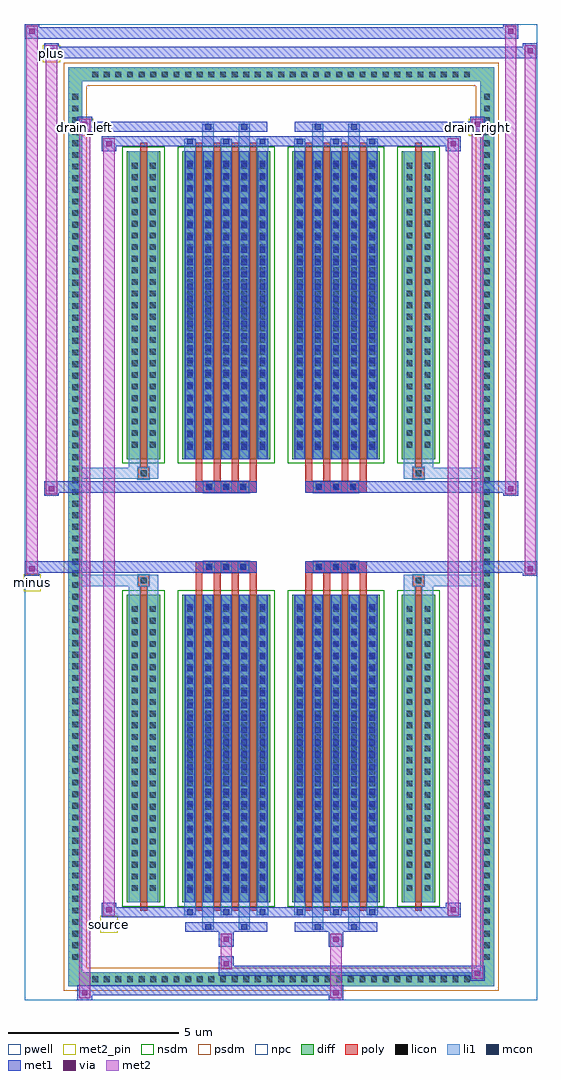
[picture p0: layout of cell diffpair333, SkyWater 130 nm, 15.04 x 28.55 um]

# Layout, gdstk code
import gdstk
lib = gdstk.Library(unit=1e-6, precision=5e-09)
def R(c, l, rs):  # rectangles x0, y0, x1, y1
    for r in rs: c.add(gdstk.rectangle(r[:2], r[2:], *l))
def A(c, l, x, y, w, h, nx, ny, dx, dy):  # array of equal rectangles
    R(c, l, [(x+i*dx, y+j*dy, x+i*dx+w, y+j*dy+h) for i in range(nx) for j in range(ny)])
def P(c, l, *ps):  # polygons
    for p in ps: c.add(gdstk.Polygon(p, *l))
pwell = (64, 44)
diff = (65, 20)
poly = (66, 20)
licon = (66, 44)
li1 = (67, 20)
mcon = (67, 44)
met1 = (68, 20)
via = (68, 44)
met2_pin = (69, 16)
met2 = (69, 20)
nsdm = (93, 44)
psdm = (94, 20)
npc = (95, 20)

diffpair333 = lib.new_cell('diffpair333')
R(diffpair333, pwell, [(-7.5,-13.84,7.5,14.71), (-4.82,-12.03,-0.01,-0.805), (0.01,-12.03,4.82,-0.805), (-4.82,0.805,-0.01,12.03), (0.01,0.805,4.82,12.03)])
A(diffpair333, diff, -5.645, -13.44, 0.41, 0.41, 33, 2, 0.34, 26.47)
A(diffpair333, diff, -6.23, -12.785, 0.41, 0.41, 1, 75, 0, 0.34)
A(diffpair333, diff, 5.82, -12.785, 0.41, 0.41, 1, 75, 0, 0.34)
R(diffpair333, diff, [(-5.645,-13.44,5.645,-13.03), (-6.23,-12.785,-5.82,12.785), (5.82,-12.785,6.23,12.785), (-4.51,-10.985,-3.53,-1.985), (-2.89,-10.985,-0.32,-1.985), (0.32,-10.985,2.89,-1.985), (3.53,-10.985,4.51,-1.985), (-4.51,1.985,-3.53,10.985), (-2.89,1.985,-0.32,10.985), (0.32,1.985,2.89,10.985), (3.53,1.985,4.51,10.985), (-5.645,13.03,5.645,13.44)])
P(diffpair333, diff, [(6.23,13.44),(-6.23,13.44),(-6.23,-13.03),(-5.82,-13.03),(-5.82,13.03),(5.82,13.03),(5.82,-13.03),(-5.82,-13.03),(-6.23,-13.03),(-6.23,-13.44),(6.23,-13.44)])
A(diffpair333, poly, -2.5, -11.235, 0.2, 9.5, 4, 2, 0.53, 12.97)
A(diffpair333, poly, 0.71, -11.235, 0.2, 9.5, 4, 2, 0.53, 12.97)
A(diffpair333, poly, -2.5, -1.735, 0.2, 0.4, 4, 2, 0.53, 3.07)
A(diffpair333, poly, 0.71, -1.735, 0.2, 0.4, 4, 2, 0.53, 3.07)
A(diffpair333, poly, -2.27, -1.335, 0.33, 0.33, 3, 2, 0.5, 2.34)
A(diffpair333, poly, 0.94, -1.335, 0.33, 0.33, 3, 2, 0.5, 2.34)
R(diffpair333, poly, [(-4.12,-11.235,-3.92,-1.735), (3.92,-11.235,4.12,-1.735), (-4.185,-1.735,-3.855,-1.405), (-4.185,-1.735,-3.855,-1.405), (3.855,-1.735,4.185,-1.405), (3.855,-1.735,4.185,-1.405), (-2.5,-1.335,-0.71,-1.005), (0.71,-1.335,2.5,-1.005), (-2.5,1.005,-0.71,1.335), (0.71,1.005,2.5,1.335), (-4.185,1.405,-3.855,1.735), (-4.185,1.405,-3.855,1.735), (3.855,1.405,4.185,1.735), (3.855,1.405,4.185,1.735), (-4.12,1.735,-3.92,11.235), (3.92,1.735,4.12,11.235)])
A(diffpair333, licon, -5.525, -13.32, 0.17, 0.17, 33, 2, 0.34, 26.47)
A(diffpair333, licon, -6.11, -12.665, 0.17, 0.17, 1, 75, 0, 0.34)
A(diffpair333, licon, 5.94, -12.665, 0.17, 0.17, 1, 75, 0, 0.34)
A(diffpair333, licon, -4.37, -10.65, 0.17, 0.17, 1, 25, 0, 0.34)
A(diffpair333, licon, -3.84, -10.65, 0.17, 0.17, 1, 25, 0, 0.34)
A(diffpair333, licon, -2.75, -10.65, 0.17, 0.17, 5, 25, 0.53, 0.34)
A(diffpair333, licon, 0.46, -10.65, 0.17, 0.17, 5, 25, 0.53, 0.34)
A(diffpair333, licon, 3.67, -10.65, 0.17, 0.17, 1, 25, 0, 0.34)
A(diffpair333, licon, 4.2, -10.65, 0.17, 0.17, 1, 25, 0, 0.34)
A(diffpair333, licon, -2.19, -1.255, 0.17, 0.17, 3, 2, 0.5, 2.34)
A(diffpair333, licon, 1.02, -1.255, 0.17, 0.17, 3, 2, 0.5, 2.34)
A(diffpair333, licon, -4.37, 2.32, 0.17, 0.17, 1, 25, 0, 0.34)
A(diffpair333, licon, -3.84, 2.32, 0.17, 0.17, 1, 25, 0, 0.34)
A(diffpair333, licon, -2.75, 2.32, 0.17, 0.17, 5, 25, 0.53, 0.34)
A(diffpair333, licon, 0.46, 2.32, 0.17, 0.17, 5, 25, 0.53, 0.34)
A(diffpair333, licon, 3.67, 2.32, 0.17, 0.17, 1, 25, 0, 0.34)
A(diffpair333, licon, 4.2, 2.32, 0.17, 0.17, 1, 25, 0, 0.34)
R(diffpair333, licon, [(-4.105,-1.655,-3.935,-1.485), (3.935,-1.655,4.105,-1.485), (-4.105,1.485,-3.935,1.655), (3.935,1.485,4.105,1.655)])
A(diffpair333, li1, -5.605, -13.4, 0.33, 0.33, 33, 2, 0.34, 26.47)
A(diffpair333, li1, -6.19, -12.745, 0.33, 0.33, 1, 75, 0, 0.34)
A(diffpair333, li1, 5.86, -12.745, 0.33, 0.33, 1, 75, 0, 0.34)
A(diffpair333, li1, -2.83, -11.36, 0.33, 0.375, 3, 2, 1.06, 22.345)
A(diffpair333, li1, -2.75, -11.36, 0.17, 0.17, 3, 2, 1.06, 22.55)
A(diffpair333, li1, 0.38, -11.36, 0.33, 0.375, 3, 2, 1.06, 22.345)
A(diffpair333, li1, 0.46, -11.36, 0.17, 0.17, 3, 2, 1.06, 22.55)
A(diffpair333, li1, -2.83, -10.985, 0.33, 9, 5, 2, 0.53, 12.97)
A(diffpair333, li1, 0.38, -10.985, 0.33, 9, 5, 2, 0.53, 12.97)
A(diffpair333, li1, -4.45, -10.73, 0.33, 0.33, 1, 25, 0, 0.34)
A(diffpair333, li1, -3.92, -10.73, 0.33, 0.33, 1, 25, 0, 0.34)
A(diffpair333, li1, -2.83, -10.73, 0.33, 0.33, 5, 25, 0.53, 0.34)
A(diffpair333, li1, 0.38, -10.73, 0.33, 0.33, 5, 25, 0.53, 0.34)
A(diffpair333, li1, 3.59, -10.73, 0.33, 0.33, 1, 25, 0, 0.34)
A(diffpair333, li1, 4.12, -10.73, 0.33, 0.33, 1, 25, 0, 0.34)
A(diffpair333, li1, -2.75, -10.71, 0.17, 0.17, 5, 24, 0.53, 0.36)
A(diffpair333, li1, -2.75, -10.71, 0.17, 8.45, 5, 2, 0.53, 12.97)
A(diffpair333, li1, 0.46, -10.71, 0.17, 0.17, 5, 24, 0.53, 0.36)
A(diffpair333, li1, 0.46, -10.71, 0.17, 8.45, 5, 2, 0.53, 12.97)
A(diffpair333, li1, -2.27, -1.335, 0.33, 0.33, 3, 2, 0.5, 2.34)
A(diffpair333, li1, 0.94, -1.335, 0.33, 0.33, 3, 2, 0.5, 2.34)
A(diffpair333, li1, -4.45, 2.24, 0.33, 0.33, 1, 25, 0, 0.34)
A(diffpair333, li1, -3.92, 2.24, 0.33, 0.33, 1, 25, 0, 0.34)
A(diffpair333, li1, -2.83, 2.24, 0.33, 0.33, 5, 25, 0.53, 0.34)
A(diffpair333, li1, 0.38, 2.24, 0.33, 0.33, 5, 25, 0.53, 0.34)
A(diffpair333, li1, 3.59, 2.24, 0.33, 0.33, 1, 25, 0, 0.34)
A(diffpair333, li1, 4.12, 2.24, 0.33, 0.33, 1, 25, 0, 0.34)
A(diffpair333, li1, -2.75, 2.26, 0.17, 0.17, 5, 24, 0.53, 0.36)
A(diffpair333, li1, 0.46, 2.26, 0.17, 0.17, 5, 24, 0.53, 0.36)
R(diffpair333, li1, [(-6.23,-13.44,-5.82,-13.03), (-6.23,-13.44,-5.82,-13.03), (-5.82,-13.44,5.82,-13.03), (5.82,-13.44,6.23,-13.03), (5.82,-13.44,6.23,-13.03), (-6.23,-13.03,-5.82,13.03), (5.82,-13.03,6.23,13.03), (-2.3,-11.79,-1.97,-10.985), (-2.22,-11.79,-2.05,-11.62), (-1.24,-11.79,-0.91,-10.985), (-1.16,-11.79,-0.99,-11.62), (0.91,-11.79,1.24,-10.985), (0.99,-11.79,1.16,-11.62), (1.97,-11.79,2.3,-10.985), (2.05,-11.79,2.22,-11.62), (-4.45,-10.985,-4.12,-1.985), (-3.92,-10.985,-3.59,-1.985), (3.59,-10.985,3.92,-1.985), (4.12,-10.985,4.45,-1.985), (-4.45,-1.985,-4.12,-1.405), (-3.92,-1.985,-3.59,-1.405), (3.59,-1.985,3.92,-1.405), (4.12,-1.985,4.45,-1.405), (-6.23,-1.735,-4.185,-1.405), (-4.45,-1.735,-4.185,-1.405), (-4.185,-1.735,-3.855,-1.405), (-3.855,-1.735,-3.59,-1.405), (3.59,-1.735,3.855,-1.405), (3.855,-1.735,4.185,-1.405), (3.855,-1.735,6.23,-1.405), (4.185,-1.735,4.45,-1.405), (-6.23,1.405,-4.185,1.735), (-4.45,1.405,-4.185,1.735), (-4.45,1.405,-4.12,1.985), (-4.185,1.405,-3.855,1.735), (-3.92,1.405,-3.59,1.985), (-3.855,1.405,-3.59,1.735), (3.59,1.405,3.855,1.735), (3.59,1.405,3.92,1.985), (3.855,1.405,4.185,1.735), (3.855,1.405,6.23,1.735), (4.12,1.405,4.45,1.985), (4.185,1.405,4.45,1.735), (-4.45,1.985,-4.12,10.985), (-3.92,1.985,-3.59,10.985), (3.59,1.985,3.92,10.985), (4.12,1.985,4.45,10.985), (-2.3,10.985,-1.97,11.79), (-1.24,10.985,-0.91,11.79), (0.91,10.985,1.24,11.79), (1.97,10.985,2.3,11.79), (-2.22,11.62,-2.05,11.79), (-1.16,11.62,-0.99,11.79), (0.99,11.62,1.16,11.79), (2.05,11.62,2.22,11.79), (-6.23,13.03,-5.82,13.44), (-6.23,13.03,-5.82,13.44), (-5.82,13.03,5.82,13.44), (5.82,13.03,6.23,13.44), (5.82,13.03,6.23,13.44)])
A(diffpair333, mcon, -2.75, -11.36, 0.17, 0.17, 3, 2, 1.06, 22.55)
A(diffpair333, mcon, 0.46, -11.36, 0.17, 0.17, 3, 2, 1.06, 22.55)
A(diffpair333, mcon, -2.75, -10.71, 0.17, 0.17, 5, 24, 0.53, 0.36)
A(diffpair333, mcon, 0.46, -10.71, 0.17, 0.17, 5, 24, 0.53, 0.36)
A(diffpair333, mcon, -2.19, -1.255, 0.17, 0.17, 3, 2, 0.5, 2.34)
A(diffpair333, mcon, 1.02, -1.255, 0.17, 0.17, 3, 2, 0.5, 2.34)
A(diffpair333, mcon, -2.75, 2.26, 0.17, 0.17, 5, 24, 0.53, 0.36)
A(diffpair333, mcon, 0.46, 2.26, 0.17, 0.17, 5, 24, 0.53, 0.36)
R(diffpair333, mcon, [(-2.22,-11.79,-2.05,-11.62), (-1.16,-11.79,-0.99,-11.62), (0.99,-11.79,1.16,-11.62), (2.05,-11.79,2.22,-11.62), (-2.22,11.62,-2.05,11.79), (-1.16,11.62,-0.99,11.79), (0.99,11.62,1.16,11.79), (2.05,11.62,2.22,11.79)])
A(diffpair333, met1, -2.81, -11.42, 0.29, 0.29, 3, 2, 1.06, 22.55)
A(diffpair333, met1, 0.4, -11.42, 0.29, 0.29, 3, 2, 1.06, 22.55)
A(diffpair333, met1, -2.81, -10.985, 0.29, 9, 5, 2, 0.53, 12.97)
A(diffpair333, met1, 0.4, -10.985, 0.29, 9, 5, 2, 0.53, 12.97)
A(diffpair333, met1, -2.81, -10.77, 0.29, 0.29, 5, 24, 0.53, 0.36)
A(diffpair333, met1, 0.4, -10.77, 0.29, 0.29, 5, 24, 0.53, 0.36)
A(diffpair333, met1, -2.25, -1.315, 0.29, 0.29, 3, 2, 0.5, 2.34)
A(diffpair333, met1, 0.96, -1.315, 0.29, 0.29, 3, 2, 0.5, 2.34)
A(diffpair333, met1, -2.81, 2.2, 0.29, 0.29, 5, 24, 0.53, 0.36)
A(diffpair333, met1, 0.4, 2.2, 0.29, 0.29, 5, 24, 0.53, 0.36)
R(diffpair333, met1, [(-5.96,-13.84,-5.53,-13.41), (1.39,-13.84,1.82,-13.41), (-5.96,-13.7,1.82,-13.41), (5.53,-13.27,5.96,-12.84), (-1.82,-13.13,5.96,-12.84), (-1.82,-12.99,-1.39,-12.56), (-1.82,-12.28,-1.39,-11.85), (1.39,-12.28,1.82,-11.85), (-2.81,-11.85,-0.4,-11.56), (-2.28,-11.85,-1.99,-11.56), (-1.22,-11.85,-0.93,-11.56), (0.4,-11.85,2.81,-11.56), (0.93,-11.85,1.22,-11.56), (1.99,-11.85,2.28,-11.56), (-5.25,-11.42,-4.82,-10.99), (-5.25,-11.42,-2.81,-11.13), (-2.81,-11.42,-0.4,-11.13), (-0.4,-11.42,0.4,-11.13), (0.4,-11.42,2.81,-11.13), (2.81,-11.42,5.25,-11.13), (4.82,-11.42,5.25,-10.99), (-7.5,-1.435,-7.07,-1.005), (7.07,-1.435,7.5,-1.005), (-7.5,-1.335,-0.71,-1.005), (-2.5,-1.335,-0.71,-1.005), (0.71,-1.335,2.5,-1.005), (0.71,-1.335,7.5,-1.005), (-6.93,0.905,-6.5,1.335), (6.5,0.905,6.93,1.335), (-6.93,1.005,-2.5,1.335), (-2.5,1.005,-0.71,1.335), (0.71,1.005,2.5,1.335), (2.5,1.005,6.93,1.335), (-5.25,10.99,-4.82,11.42), (4.82,10.99,5.25,11.42), (-5.25,11.13,-2.81,11.42), (-2.81,11.13,-0.4,11.42), (-0.4,11.13,0.4,11.42), (0.4,11.13,2.81,11.42), (2.81,11.13,5.25,11.42), (-5.96,11.56,-5.53,11.99), (-5.96,11.56,-2.81,11.85), (-2.81,11.56,-0.4,11.85), (-2.28,11.56,-1.99,11.85), (-1.22,11.56,-0.93,11.85), (0.4,11.56,2.81,11.85), (0.93,11.56,1.22,11.85), (1.99,11.56,2.28,11.85), (2.81,11.56,5.96,11.85), (5.53,11.56,5.96,11.99), (-6.93,13.71,-6.5,14.14), (-6.93,13.71,-4.82,14.04), (-4.82,13.71,4.82,14.04), (4.82,13.71,7.5,14.04), (7.07,13.71,7.5,14.14), (-7.5,14.28,-7.07,14.71), (-7.5,14.28,-4.82,14.61), (-4.82,14.28,4.82,14.61), (4.82,14.28,6.93,14.61), (6.5,14.28,6.93,14.71)])
R(diffpair333, via, [(-5.82,-13.7,-5.67,-13.55), (1.53,-13.7,1.68,-13.55), (5.67,-13.13,5.82,-12.98), (-1.68,-12.85,-1.53,-12.7), (-1.68,-12.14,-1.53,-11.99), (1.53,-12.14,1.68,-11.99), (-5.11,-11.28,-4.96,-11.13), (4.96,-11.28,5.11,-11.13), (-7.36,-1.295,-7.21,-1.145), (7.21,-1.295,7.36,-1.145), (-6.79,1.045,-6.64,1.195), (6.64,1.045,6.79,1.195), (-5.11,11.13,-4.96,11.28), (4.96,11.13,5.11,11.28), (-5.82,11.7,-5.67,11.85), (5.67,11.7,5.82,11.85), (-6.79,13.85,-6.64,14), (7.21,13.85,7.36,14), (-7.36,14.42,-7.21,14.57), (6.64,14.42,6.79,14.57)])
R(diffpair333, met2_pin, [(-5.285,-11.87,-4.785,-11.37), (-7.535,-1.885,-7.035,-1.385), (-5.995,11.44,-5.495,11.94), (5.495,11.44,5.995,11.94), (-6.965,13.59,-6.465,14.09)])
R(diffpair333, met2, [(-5.91,-13.79,-5.58,-13.46), (-5.91,-13.79,-5.58,11.94), (1.44,-13.79,1.77,-13.46), (1.44,-13.46,1.77,-12.23), (5.58,-13.22,5.91,-12.89), (5.58,-13.22,5.91,11.94), (-1.77,-12.94,-1.44,-12.61), (-1.77,-12.61,-1.44,-12.23), (-1.77,-12.23,-1.44,-11.9), (1.44,-12.23,1.77,-11.9), (-5.2,-11.37,-4.87,-11.04), (-5.2,-11.37,-4.87,11.37), (4.87,-11.37,5.2,-11.04), (4.87,-11.37,5.2,11.37), (-7.45,-1.385,-7.12,-1.055), (-7.45,-1.385,-7.12,14.66), (7.12,-1.385,7.45,-1.055), (7.12,-1.385,7.45,14.09), (-6.88,0.955,-6.55,1.285), (-6.88,0.955,-6.55,14.09), (6.55,0.955,6.88,1.285), (6.55,0.955,6.88,14.66), (-5.2,11.04,-4.87,11.37), (4.87,11.04,5.2,11.37), (-5.91,11.61,-5.58,11.94), (5.58,11.61,5.91,11.94), (-6.88,13.76,-6.55,14.09), (7.12,13.76,7.45,14.09), (-7.45,14.33,-7.12,14.66), (6.55,14.33,6.88,14.66)])
P(diffpair333, met2, [(7.45,-1.385),(7.45,-1.385),(7.45,-1.055),(7.45,-1.055)],
  [(7.45,13.76),(7.45,13.76),(7.45,14.09),(7.45,14.09)],
  [(-7.12,-1.385),(-7.12,-1.385),(-7.12,-1.055),(-7.12,-1.055)],
  [(-7.12,14.33),(-7.12,14.33),(-7.12,14.66),(-7.12,14.66)],
  [(6.88,0.955),(6.88,0.955),(6.88,1.285),(6.88,1.285)],
  [(6.88,14.33),(6.88,14.33),(6.88,14.66),(6.88,14.66)],
  [(-6.55,0.955),(-6.55,0.955),(-6.55,1.285),(-6.55,1.285)],
  [(-6.55,13.76),(-6.55,13.76),(-6.55,14.09),(-6.55,14.09)],
  [(-5.58,-13.79),(-5.58,-13.79),(-5.58,-13.46),(-5.58,-13.46)],
  [(-5.58,11.61),(-5.58,11.61),(-5.58,11.94),(-5.58,11.94)],
  [(5.91,-13.22),(5.91,-13.22),(5.91,-12.89),(5.91,-12.89)],
  [(5.91,11.61),(5.91,11.61),(5.91,11.94),(5.91,11.94)],
  [(-4.87,-11.37),(-4.87,-11.37),(-4.87,-11.04),(-4.87,-11.04)],
  [(-4.87,11.04),(-4.87,11.04),(-4.87,11.37),(-4.87,11.37)],
  [(5.2,-11.37),(5.2,-11.37),(5.2,-11.04),(5.2,-11.04)],
  [(5.2,11.04),(5.2,11.04),(5.2,11.37),(5.2,11.37)])
R(diffpair333, nsdm, [(-4.64,-11.115,-3.4,-1.855), (-3.02,-11.115,-0.19,-1.855), (0.19,-11.115,3.02,-1.855), (3.4,-11.115,4.64,-1.855), (-4.64,1.855,-3.4,11.115), (-3.02,1.855,-0.19,11.115), (0.19,1.855,3.02,11.115), (3.4,1.855,4.64,11.115)])
P(diffpair333, psdm, [(6.36,13.57),(-6.36,13.57),(-6.36,-12.9),(-5.69,-12.9),(-5.69,12.9),(5.69,12.9),(5.69,-12.9),(-5.69,-12.9),(-6.36,-12.9),(-6.36,-13.57),(6.36,-13.57)])
A(diffpair333, npc, -2.29, -1.355, 0.37, 0.37, 3, 2, 0.5, 2.34)
A(diffpair333, npc, 0.92, -1.355, 0.37, 0.37, 3, 2, 0.5, 2.34)
R(diffpair333, npc, [(-4.205,-1.755,-3.835,-1.385), (3.835,-1.755,4.205,-1.385), (-2.29,-1.355,-1.42,-0.985), (-2.29,-1.355,-1.42,-0.985), (-1.79,-1.355,-0.92,-0.985), (-1.79,-1.355,-0.92,-0.985), (0.92,-1.355,1.79,-0.985), (0.92,-1.355,1.79,-0.985), (1.42,-1.355,2.29,-0.985), (1.42,-1.355,2.29,-0.985), (-2.29,0.985,-1.42,1.355), (-2.29,0.985,-1.42,1.355), (-1.79,0.985,-0.92,1.355), (-1.79,0.985,-0.92,1.355), (0.92,0.985,1.79,1.355), (0.92,0.985,1.79,1.355), (1.42,0.985,2.29,1.355), (1.42,0.985,2.29,1.355), (-4.205,1.385,-3.835,1.755), (3.835,1.385,4.205,1.755)])
diffpair333.add(gdstk.Label('minus', (-7.285,-1.635), layer=69, texttype=5))
diffpair333.add(gdstk.Label('drain_right', (5.745,11.69), layer=69, texttype=5))
diffpair333.add(gdstk.Label('drain_left', (-5.745,11.69), layer=69, texttype=5))
diffpair333.add(gdstk.Label('source', (-5.035,-11.62), layer=69, texttype=5))
diffpair333.add(gdstk.Label('plus', (-6.715,13.84), layer=69, texttype=5))

lib.write_gds('diffpair333.gds')
